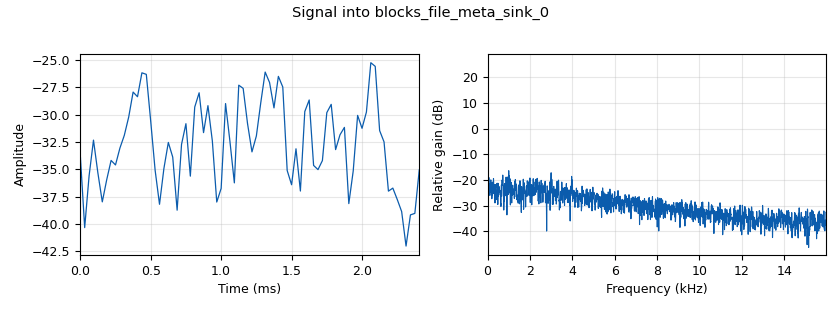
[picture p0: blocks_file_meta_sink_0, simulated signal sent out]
<?xml version='1.0' encoding='utf-8'?>
<?grc format='1' created='3.7.8'?>
<flow_graph>
<block>
<key>options</key>
<param><key>id</key><value>metafile_companion</value></param>
<param><key>category</key><value>Custom</value></param>
<param><key>generate_options</key><value>no_gui</value></param>
</block>
<block>
<key>variable</key>
<param><key>id</key><value>channels</value></param>
<param><key>value</key><value>1024</value></param>
</block>
<block>
<key>variable</key>
<param><key>id</key><value>frame_rate</value></param>
<param><key>value</key><value>2</value></param>
</block>
<block>
<key>variable</key>
<param><key>id</key><value>samp_rate</value></param>
<param><key>value</key><value>32000</value></param>
</block>
<block>
<key>variable</key>
<param><key>id</key><value>samp_rate_0</value></param>
<param><key>value</key><value>32000</value></param>
</block>
<block>
<key>analog_noise_source_x</key>
<param><key>id</key><value>analog_noise_source_x_0</value></param>
<param><key>amp</key><value>1</value></param>
<param><key>noise_type</key><value>analog.GR_GAUSSIAN</value></param>
<param><key>type</key><value>complex</value></param>
<param><key>seed</key><value>0</value></param>
</block>
<block>
<key>analog_sig_source_x</key>
<param><key>id</key><value>analog_sig_source_x_0</value></param>
<param><key>amp</key><value>1</value></param>
<param><key>freq</key><value>4e3</value></param>
<param><key>offset</key><value>0</value></param>
<param><key>type</key><value>complex</value></param>
<param><key>samp_rate</key><value>samp_rate</value></param>
<param><key>waveform</key><value>analog.GR_COS_WAVE</value></param>
</block>
<block>
<key>analog_sig_source_x</key>
<param><key>id</key><value>analog_sig_source_x_0_0</value></param>
<param><key>amp</key><value>1</value></param>
<param><key>freq</key><value>8e3</value></param>
<param><key>offset</key><value>0</value></param>
<param><key>type</key><value>complex</value></param>
<param><key>samp_rate</key><value>samp_rate</value></param>
<param><key>waveform</key><value>analog.GR_COS_WAVE</value></param>
</block>
<block>
<key>analog_sig_source_x</key>
<param><key>id</key><value>analog_sig_source_x_0_1</value></param>
<param><key>amp</key><value>1</value></param>
<param><key>freq</key><value>2e3</value></param>
<param><key>offset</key><value>0</value></param>
<param><key>type</key><value>complex</value></param>
<param><key>samp_rate</key><value>samp_rate</value></param>
<param><key>waveform</key><value>analog.GR_COS_WAVE</value></param>
</block>
<block>
<key>analog_sig_source_x</key>
<param><key>id</key><value>analog_sig_source_x_0_2</value></param>
<param><key>amp</key><value>1</value></param>
<param><key>freq</key><value>1e3</value></param>
<param><key>offset</key><value>0</value></param>
<param><key>type</key><value>complex</value></param>
<param><key>samp_rate</key><value>samp_rate</value></param>
<param><key>waveform</key><value>analog.GR_COS_WAVE</value></param>
</block>
<block>
<key>blocks_add_xx</key>
<param><key>id</key><value>blocks_add_xx_0</value></param>
<param><key>type</key><value>complex</value></param>
<param><key>num_inputs</key><value>5</value></param>
</block>
<block>
<key>blocks_file_meta_sink</key>
<param><key>id</key><value>blocks_file_meta_sink_0</value></param>
<param><key>detached</key><value>True</value></param>
<param><key>extra_dict</key><value></value></param>
<param><key>file</key><value>/Users/danidiaz/Develop/usrp/test/fftdani/metafile.dat</value></param>
<param><key>type</key><value>float</value></param>
<param><key>max_seg_size</key><value>1000000</value></param>
<param><key>rel_rate</key><value>1</value></param>
<param><key>samp_rate</key><value>samp_rate</value></param>
<param><key>vlen</key><value>1024</value></param>
</block>
<block>
<key>blocks_throttle</key>
<param><key>id</key><value>blocks_throttle_0</value></param>
<param><key>samples_per_second</key><value>samp_rate</value></param>
<param><key>type</key><value>complex</value></param>
</block>
<block>
<key>logpwrfft_x</key>
<param><key>id</key><value>logpwrfft_x_0</value></param>
<param><key>avg_alpha</key><value>1.0</value></param>
<param><key>average</key><value>False</value></param>
<param><key>fft_size</key><value>channels</value></param>
<param><key>frame_rate</key><value>frame_rate</value></param>
<param><key>type</key><value>complex</value></param>
<param><key>ref_scale</key><value>2</value></param>
<param><key>sample_rate</key><value>samp_rate</value></param>
</block>
<connection><source_block_id>analog_noise_source_x_0</source_block_id><sink_block_id>blocks_add_xx_0</sink_block_id><source_key>0</source_key><sink_key>1</sink_key></connection>
<connection><source_block_id>analog_sig_source_x_0</source_block_id><sink_block_id>blocks_add_xx_0</sink_block_id><source_key>0</source_key><sink_key>0</sink_key></connection>
<connection><source_block_id>analog_sig_source_x_0_0</source_block_id><sink_block_id>blocks_add_xx_0</sink_block_id><source_key>0</source_key><sink_key>2</sink_key></connection>
<connection><source_block_id>analog_sig_source_x_0_1</source_block_id><sink_block_id>blocks_add_xx_0</sink_block_id><source_key>0</source_key><sink_key>3</sink_key></connection>
<connection><source_block_id>analog_sig_source_x_0_2</source_block_id><sink_block_id>blocks_add_xx_0</sink_block_id><source_key>0</source_key><sink_key>4</sink_key></connection>
<connection><source_block_id>blocks_add_xx_0</source_block_id><sink_block_id>blocks_throttle_0</sink_block_id><source_key>0</source_key><sink_key>0</sink_key></connection>
<connection><source_block_id>blocks_throttle_0</source_block_id><sink_block_id>logpwrfft_x_0</sink_block_id><source_key>0</source_key><sink_key>0</sink_key></connection>
<connection><source_block_id>logpwrfft_x_0</source_block_id><sink_block_id>blocks_file_meta_sink_0</sink_block_id><source_key>0</source_key><sink_key>0</sink_key></connection>
</flow_graph>
